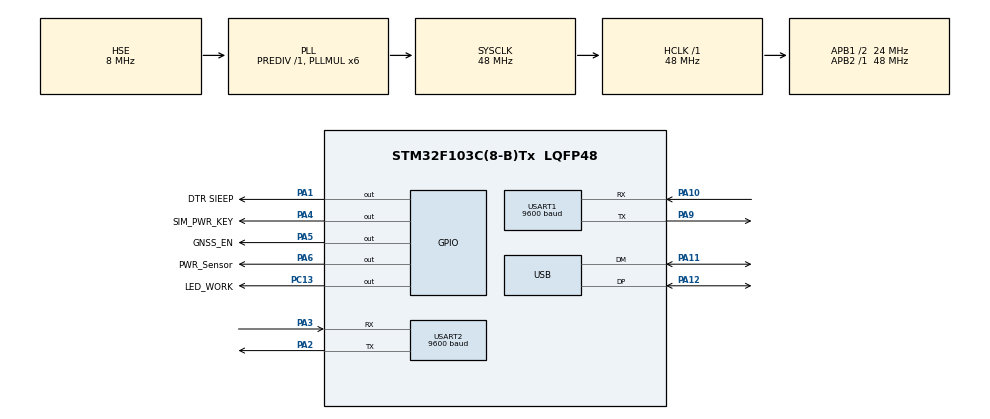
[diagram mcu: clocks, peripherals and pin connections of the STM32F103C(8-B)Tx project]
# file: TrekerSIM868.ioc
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Dma.Request0=USART1_RX
Dma.Request1=USART1_TX
Dma.Request2=USART2_RX
Dma.Request3=USART2_TX
Dma.USART1_RX.0.Direction=DMA_PERIPH_TO_MEMORY
Dma.USART1_RX.0.Instance=DMA1_Channel5
Dma.USART1_RX.0.MemDataAlignment=DMA_MDATAALIGN_BYTE
Dma.USART1_RX.0.MemInc=DMA_MINC_ENABLE
Dma.USART1_RX.0.Mode=DMA_NORMAL
Dma.USART1_RX.0.PeriphDataAlignment=DMA_PDATAALIGN_BYTE
Dma.USART1_RX.0.PeriphInc=DMA_PINC_DISABLE
Dma.USART1_RX.0.Priority=DMA_PRIORITY_LOW
Dma.USART1_TX.1.Direction=DMA_MEMORY_TO_PERIPH
Dma.USART1_TX.1.Instance=DMA1_Channel4
Dma.USART1_TX.1.MemDataAlignment=DMA_MDATAALIGN_BYTE
Dma.USART1_TX.1.MemInc=DMA_MINC_ENABLE
Dma.USART1_TX.1.Mode=DMA_NORMAL
Dma.USART1_TX.1.PeriphDataAlignment=DMA_PDATAALIGN_BYTE
Dma.USART1_TX.1.PeriphInc=DMA_PINC_DISABLE
Dma.USART1_TX.1.Priority=DMA_PRIORITY_LOW
Dma.USART2_RX.2.Direction=DMA_PERIPH_TO_MEMORY
Dma.USART2_RX.2.Instance=DMA1_Channel6
Dma.USART2_RX.2.MemDataAlignment=DMA_MDATAALIGN_BYTE
Dma.USART2_RX.2.MemInc=DMA_MINC_ENABLE
Dma.USART2_RX.2.Mode=DMA_NORMAL
Dma.USART2_RX.2.PeriphDataAlignment=DMA_PDATAALIGN_BYTE
Dma.USART2_RX.2.PeriphInc=DMA_PINC_DISABLE
Dma.USART2_RX.2.Priority=DMA_PRIORITY_LOW
Dma.USART2_TX.3.Direction=DMA_MEMORY_TO_PERIPH
Dma.USART2_TX.3.Instance=DMA1_Channel7
Dma.USART2_TX.3.MemDataAlignment=DMA_MDATAALIGN_BYTE
Dma.USART2_TX.3.MemInc=DMA_MINC_ENABLE
Dma.USART2_TX.3.Mode=DMA_NORMAL
Dma.USART2_TX.3.PeriphDataAlignment=DMA_PDATAALIGN_BYTE
Dma.USART2_TX.3.PeriphInc=DMA_PINC_DISABLE
Dma.USART2_TX.3.Priority=DMA_PRIORITY_LOW
FREERTOS.Tasks01=GPS,0,128,StartGPS,Default,NULL,Dynamic,NULL,NULL;GSM,-3,128,StartGSM,Default,NULL,Dynamic,NULL,NULL;Masage,-3,128,StartMasage,Default,NULL,Dynamic,NULL,NULL;mySTATUS,-3,128,StartSTATUS,Default,NULL,Dynamic,NULL,NULL
Mcu.Family=STM32F1
Mcu.Name=STM32F103C(8-B)Tx
Mcu.Package=LQFP48
NVIC.DMA1_Channel4_IRQn=true\:5\:0\:false\:false\:true\:true\:false\:true\:true
NVIC.DMA1_Channel5_IRQn=true\:5\:0\:false\:false\:true\:true\:false\:true\:true
NVIC.DMA1_Channel6_IRQn=true\:5\:0\:false\:false\:true\:true\:false\:true\:true
NVIC.DMA1_Channel7_IRQn=true\:5\:0\:false\:false\:true\:true\:false\:true\:true
NVIC.PriorityGroup=NVIC_PRIORITYGROUP_4
NVIC.TIM1_UP_IRQn=true\:15\:0\:false\:false\:true\:false\:false\:true\:true
NVIC.TimeBase=TIM1_UP_IRQn
NVIC.TimeBaseIP=TIM1
NVIC.USART1_IRQn=true\:5\:0\:false\:false\:true\:true\:true\:true\:true
NVIC.USART2_IRQn=true\:5\:0\:false\:false\:true\:true\:true\:true\:true
NVIC.USB_LP_CAN1_RX0_IRQn=true\:5\:0\:false\:false\:true\:true\:false\:true\:true
PA0-WKUP.Mode=SYS_WakeUp0
PA0-WKUP.Signal=SYS_WKUP
PA1.GPIO_Label=DTR SlEEP
PA1.Signal=GPIO_Output
PA10.Mode=Asynchronous
PA10.Signal=USART1_RX
PA11.Mode=Device
PA11.Signal=USB_DM
PA12.Mode=Device
PA12.Signal=USB_DP
PA13.Mode=Trace_Asynchronous_SW
PA13.Signal=SYS_JTMS-SWDIO
PA14.Mode=Trace_Asynchronous_SW
PA14.Signal=SYS_JTCK-SWCLK
PA2.Mode=Asynchronous
PA2.Signal=USART2_TX
PA3.Mode=Asynchronous
PA3.Signal=USART2_RX
PA4.GPIO_Label=SIM_PWR_KEY
PA4.Signal=GPIO_Output
PA5.GPIO_Label=GNSS_EN
PA5.Signal=GPIO_Output
PA6.GPIO_Label=PWR_Sensor
PA6.Signal=GPIO_Output
PA9.Mode=Asynchronous
PA9.Signal=USART1_TX
PB3.Mode=Trace_Asynchronous_SW
PB3.Signal=SYS_JTDO-TRACESWO
PC13-TAMPER-RTC.GPIO_Label=LED_WORK
PC13-TAMPER-RTC.GPIO_Speed=GPIO_SPEED_FREQ_LOW
PC13-TAMPER-RTC.PinState=GPIO_PIN_SET
PC13-TAMPER-RTC.Signal=GPIO_Output
PD0-OSC_IN.Mode=HSE-External-Oscillator
PD0-OSC_IN.Signal=RCC_OSC_IN
PD1-OSC_OUT.Mode=HSE-External-Oscillator
PD1-OSC_OUT.Signal=RCC_OSC_OUT
ProjectManager.HeapSize=0x200
ProjectManager.StackSize=0x400
ProjectManager.TargetToolchain=TrueSTUDIO
RCC.AHBFreq_Value=48000000
RCC.APB1CLKDivider=RCC_HCLK_DIV2
RCC.APB1Freq_Value=24000000
RCC.APB1TimFreq_Value=48000000
RCC.APB2Freq_Value=48000000
RCC.APB2TimFreq_Value=48000000
RCC.HCLKFreq_Value=48000000
RCC.PLLMUL=RCC_PLL_MUL6
RCC.SYSCLKFreq_VALUE=48000000
RCC.SYSCLKSource=RCC_SYSCLKSOURCE_PLLCLK
RCC.USBFreq_Value=48000000
USART1.BaudRate=9600
USART1.VirtualMode=VM_ASYNC
USART2.BaudRate=9600
USART2.VirtualMode=VM_ASYNC
USB_DEVICE.CLASS_NAME_FS=CDC
USB_DEVICE.PRODUCT_STRING_CDC_FS=TREKER
USB_DEVICE.VirtualMode=Cdc
USB_DEVICE.VirtualModeFS=Cdc_FS
VP_FREERTOS_VS_CMSIS_V1.Mode=CMSIS_V1
VP_SYS_VS_tim1.Mode=TIM1
VP_TIM2_VS_ControllerModeClock.Mode=Clock Mode
VP_USB_DEVICE_VS_USB_DEVICE_CDC_FS.Mode=CDC_FS
board=custom

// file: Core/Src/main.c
/* USER CODE BEGIN Header */
/**
  ******************************************************************************
  * @file           : main.c
  * @brief          : Main program body
  ******************************************************************************
  * @attention
  *
  * Copyright (c) 2023 STMicroelectronics.
  * All rights reserved.
  *
  * This software is licensed under terms that can be found in the LICENSE file
  * in the root directory of this software component.
  * If no LICENSE file comes with this software, it is provided AS-IS.
  *
  ******************************************************************************
  */
/* USER CODE END Header */
#include "main.h"
#include "cmsis_os.h"
#include "dma.h"
#include "tim.h"
#include "usart.h"
#include "usb_device.h"
#include "gpio.h"

void SystemClock_Config(void);
void MX_FREERTOS_Init(void);

int main(void)
{

  /* MCU Configuration--------------------------------------------------------*/

  /* Reset of all peripherals, Initializes the Flash interface and the Systick. */
  HAL_Init();

  /* Configure the system clock */
  SystemClock_Config();

  /* Initialize all configured peripherals */
  MX_GPIO_Init();
  MX_DMA_Init();
  MX_USART1_UART_Init();
  MX_USART2_UART_Init();
  MX_TIM2_Init();
  /* USER CODE BEGIN 2 */
  HAL_GPIO_WritePin(GNSS_EN_GPIO_Port, GNSS_EN_Pin, GPIO_PIN_SET);

  void ReadUart(void);
       ReadUart();

  /* USER CODE END 2 */

  /* Call init function for freertos objects (in freertos.c) */
  MX_FREERTOS_Init();

  /* Start scheduler */
  osKernelStart();

  /* We should never get here as control is now taken by the scheduler */
  /* Infinite loop */
  while (1)
  {

  }
}

void SystemClock_Config(void)
{
  RCC_OscInitTypeDef RCC_OscInitStruct = {0};
  RCC_ClkInitTypeDef RCC_ClkInitStruct = {0};
  RCC_PeriphCLKInitTypeDef PeriphClkInit = {0};

  /** Initializes the RCC Oscillators according to the specified parameters
  * in the RCC_OscInitTypeDef structure.
  */
  RCC_OscInitStruct.OscillatorType = RCC_OSCILLATORTYPE_HSE;
  RCC_OscInitStruct.HSEState = RCC_HSE_ON;
  RCC_OscInitStruct.HSEPredivValue = RCC_HSE_PREDIV_DIV1;
  RCC_OscInitStruct.HSIState = RCC_HSI_ON;
  RCC_OscInitStruct.PLL.PLLState = RCC_PLL_ON;
  RCC_OscInitStruct.PLL.PLLSource = RCC_PLLSOURCE_HSE;
  RCC_OscInitStruct.PLL.PLLMUL = RCC_PLL_MUL6;
  if (HAL_RCC_OscConfig(&RCC_OscInitStruct) != HAL_OK)
  {
    Error_Handler();
  }

  /** Initializes the CPU, AHB and APB buses clocks
  */
  RCC_ClkInitStruct.ClockType = RCC_CLOCKTYPE_HCLK|RCC_CLOCKTYPE_SYSCLK
                              |RCC_CLOCKTYPE_PCLK1|RCC_CLOCKTYPE_PCLK2;
  RCC_ClkInitStruct.SYSCLKSource = RCC_SYSCLKSOURCE_PLLCLK;
  RCC_ClkInitStruct.AHBCLKDivider = RCC_SYSCLK_DIV1;
  RCC_ClkInitStruct.APB1CLKDivider = RCC_HCLK_DIV2;
  RCC_ClkInitStruct.APB2CLKDivider = RCC_HCLK_DIV1;

  if (HAL_RCC_ClockConfig(&RCC_ClkInitStruct, FLASH_LATENCY_1) != HAL_OK)
  {
    Error_Handler();
  }
  PeriphClkInit.PeriphClockSelection = RCC_PERIPHCLK_USB;
  PeriphClkInit.UsbClockSelection = RCC_USBCLKSOURCE_PLL;
  if (HAL_RCCEx_PeriphCLKConfig(&PeriphClkInit) != HAL_OK)
  {
    Error_Handler();
  }
}

void HAL_TIM_PeriodElapsedCallback(TIM_HandleTypeDef *htim)
{
  if (htim->Instance == TIM1) {
    HAL_IncTick();
  }
}

void Error_Handler(void)
{
  __disable_irq();
  while (1)
  {
  }
}

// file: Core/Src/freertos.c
/* USER CODE BEGIN Header */
/**
  ******************************************************************************
  * File Name          : freertos.c
  * Description        : Code for freertos applications
  ******************************************************************************
  * @attention
  *
  * Copyright (c) 2023 STMicroelectronics.
  * All rights reserved.
  *
  * This software is licensed under terms that can be found in the LICENSE file
  * in the root directory of this software component.
  * If no LICENSE file comes with this software, it is provided AS-IS.
  *
  ******************************************************************************
  */
/* USER CODE END Header */

#include "FreeRTOS.h"
#include "task.h"
#include "main.h"
#include "cmsis_os.h"

#define  AT       1

osThreadId GPSHandle;
osThreadId GSMHandle;
osThreadId MasageHandle;
osThreadId mySTATUSHandle;

void StartGPS(void const * argument);
void StartGSM(void const * argument);
void StartMasage(void const * argument);
void StartSTATUS(void const * argument);

extern void MX_USB_DEVICE_Init(void);
void MX_FREERTOS_Init(void); /* (MISRA C 2004 rule 8.1) */

/* GetIdleTaskMemory prototype (linked to static allocation support) */
void vApplicationGetIdleTaskMemory( StaticTask_t **ppxIdleTaskTCBBuffer, StackType_t **ppxIdleTaskStackBuffer, uint32_t *pulIdleTaskStackSize );

/* USER CODE BEGIN GET_IDLE_TASK_MEMORY */
static StaticTask_t xIdleTaskTCBBuffer;
static StackType_t xIdleStack[configMINIMAL_STACK_SIZE];

void vApplicationGetIdleTaskMemory( StaticTask_t **ppxIdleTaskTCBBuffer, StackType_t **ppxIdleTaskStackBuffer, uint32_t *pulIdleTaskStackSize )
{
  *ppxIdleTaskTCBBuffer = &xIdleTaskTCBBuffer;
  *ppxIdleTaskStackBuffer = &xIdleStack[0];
  *pulIdleTaskStackSize = configMINIMAL_STACK_SIZE;
  /* place for user code */
}
/* USER CODE END GET_IDLE_TASK_MEMORY */

void MX_FREERTOS_Init(void) {

  /* Create the thread(s) */
  /* definition and creation of GPS */
  osThreadDef(GPS, StartGPS, osPriorityNormal, 0, 128);
  GPSHandle = osThreadCreate(osThread(GPS), NULL);

  /* definition and creation of GSM */
  osThreadDef(GSM, StartGSM, osPriorityIdle, 0, 128);
  GSMHandle = osThreadCreate(osThread(GSM), NULL);

  /* definition and creation of Masage */
  osThreadDef(Masage, StartMasage, osPriorityIdle, 0, 128);
  MasageHandle = osThreadCreate(osThread(Masage), NULL);

  /* definition and creation of mySTATUS */
  osThreadDef(mySTATUS, StartSTATUS, osPriorityIdle, 0, 128);
  mySTATUSHandle = osThreadCreate(osThread(mySTATUS), NULL);

}

void StartGPS(void const * argument)
{
  /* init code for USB_DEVICE */
  MX_USB_DEVICE_Init();
  /* USER CODE BEGIN StartGPS */
  /* Infinite loop */
  for(;;)
  {
    osDelay(500);
    HAL_GPIO_WritePin(GPIOC, LED_WORK_Pin, GPIO_PIN_RESET);
    osDelay(500);
    HAL_GPIO_WritePin(GPIOC, LED_WORK_Pin, GPIO_PIN_SET);
  }
  /* USER CODE END StartGPS */
}

    void ATcomand(char Comand);
void StartGSM(void const * argument)
{
  /* USER CODE BEGIN StartGSM */
  /* Infinite loop */
  for(;;){

   //ATcomand(AT);
   //HAL_GPIO_WritePin(GNSS_EN_GPIO_Port, GNSS_EN_Pin, GPIO_PIN_SET);

   // HAL_GPIO_WritePin(GNSS_EN_GPIO_Port, GNSS_EN_Pin, GPIO_PIN_RESET);
    //osDelay(5000);

  // ATcomand(AT);
   osDelay(2000);
   char get_coordinates( char* data1, struct Coordinates* coords);

    get_coordinates( "test",0);

  }
  /* USER CODE END StartGSM */
}

void SendToUSB(void);

void StartMasage(void const * argument)
{
  /* USER CODE BEGIN StartMasage */
  /* Infinite loop */
  for(;;)
  {

    osDelay(1000);

    SendToUSB();

  }
  /* USER CODE END StartMasage */
}

void StartSTATUS(void const * argument)
{
  /* USER CODE BEGIN StartSTATUS */
  /* Infinite loop */
  for(;;)
  {

      osDelay(500);
      HAL_GPIO_WritePin(GPIOC, LED_WORK_Pin, GPIO_PIN_RESET);
      osDelay(500);
      HAL_GPIO_WritePin(GPIOC, LED_WORK_Pin, GPIO_PIN_SET);

  }
  /* USER CODE END StartSTATUS */
}
